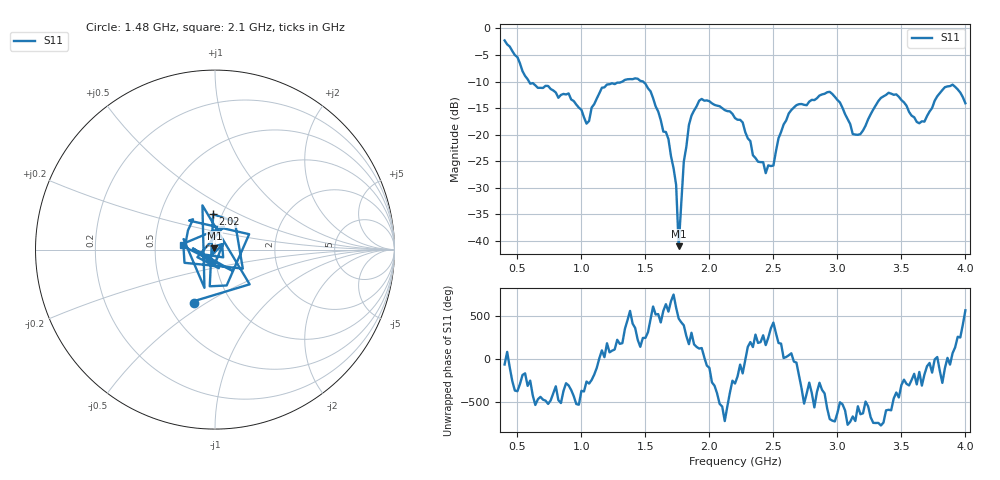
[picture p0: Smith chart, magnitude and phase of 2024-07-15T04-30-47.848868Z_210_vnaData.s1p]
!Created with skrf (http://scikit-rf.org).
# Hz S RI R 50.0
!freq ReS11 ImS11
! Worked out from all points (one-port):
!   181 points, 400 MHz to 4 GHz, reference 50 ohm
!   lowest |S11| = -41.0 dB at 1.76 GHz (marker M1), VSWR 1.02, Z = 49.6 + j0.809 ohm
!   |S11| at or under -10 dB: 590.5 MHz to 1.321 GHz (730.3 MHz wide, 76.4 % of centre); 1.481 GHz to end of sweep
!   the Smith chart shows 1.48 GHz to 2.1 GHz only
!   S11 on the Smith chart (normalised r, x): 1.48 GHz: 0.68, -0.45; 2.02 GHz: 0.91, +0.37; 2.1 GHz: 0.70, +0.03
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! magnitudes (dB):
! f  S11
! 400 MHz  -2.3
! 600 MHz  -10.4
! 860 MHz  -12.3
! 1.04 GHz  -17.9
! 1.16 GHz  -11.2
! 1.3 GHz  -10.2
! 1.48 GHz  -10.0
! 1.68 GHz  -20.8
! 1.74 GHz  -29.4
! 1.76 GHz  -41.0
! 1.8 GHz  -25.1
! 1.84 GHz  -18.2
! 1.92 GHz  -13.6
! 2.02 GHz  -14.1
! 2.1 GHz  -15.0
! 2.2 GHz  -16.9
! 2.44 GHz  -27.3
! 2.5 GHz  -25.8
! 2.54 GHz  -20.7
! 2.66 GHz  -14.9
! 2.94 GHz  -11.9
! 3.1 GHz  -18.0
! 3.18 GHz  -19.9
! 3.4 GHz  -12.1
! 3.56 GHz  -15.7
! 3.68 GHz  -17.5
! 3.9 GHz  -10.6
! 4 GHz  -14.1
